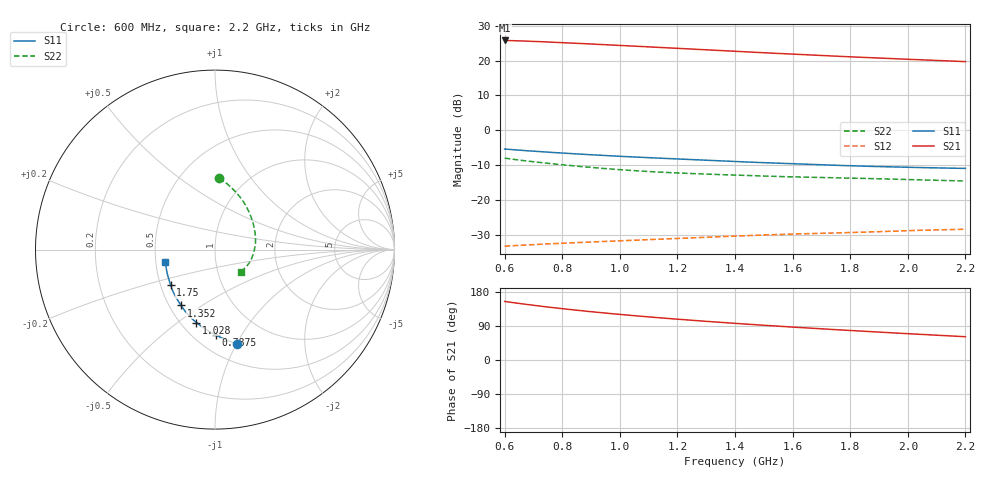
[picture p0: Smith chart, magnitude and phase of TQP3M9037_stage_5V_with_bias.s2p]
! Project 16: GNSS L1 + L2/L5 active antenna front end (RFMW-ANT)
! Generated by Scripts/simulate.py from Scripts/ds_data.py; format GHz / RI, Z0 = 50 ohm
! SIMULATED: 100 pF input DC block + TQP3M9037 (table) + 18 nH choke to 100 pF bypass + 100 pF
! output DC block, eval-board values (Qorvo p.5) with [ASSUMED] parasitics (models.BIAS).
# GHz S RI R 50.0
!freq ReS11 ImS11 ReS21 ImS21 ReS12 ImS12 ReS22 ImS22
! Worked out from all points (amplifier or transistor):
!   3201 points, 600 MHz to 2.2 GHz, reference 50 ohm
!   highest |S21| = 25.8 dB at 600 MHz (marker M1)
!   |S21| within 3 dB of that: start of sweep to 1.372 GHz
!   unconditionally stable (mu >= 1): start of sweep to end of sweep
!   at 866.5 MHz: K = 1.17, MAG = 26.0 dB, |S12| = -32.1 dB
!   at 1.4 GHz: K = 1.25, MAG = 23.5 dB, |S12| = -30.3 dB
!   at 2.2 GHz: K = 1.37, MAG = 20.4 dB, |S12| = -28.3 dB
!   S11 on the Smith chart (normalised r, x): 600 MHz: 0.68, -1.01; 787.5 MHz: 0.64, -0.78; 1.028 GHz: 0.60, -0.59; 1.352 GHz: 0.57, -0.41; 1.75 GHz: 0.56, -0.25; 2.2 GHz: 0.56, -0.09
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0.6  0.1246 -0.5252  -17.56 8.353  0.0174 0.0133  0.024 0.3988
0.612  0.1152 -0.5223  -17.32 8.728  0.0176 0.0133  0.034 0.392
0.6525  0.0858 -0.5122  -16.44 9.872  0.0182 0.0132  0.0645 0.3688
0.693  0.0592 -0.5018  -15.5 10.84  0.0187 0.0132  0.0906 0.3459
0.739  0.0317 -0.4895  -14.38 11.75  0.0193 0.0133  0.1159 0.3204
0.7875  0.00488 -0.4763  -13.2 12.52  0.0199 0.0133  0.1383 0.2941
0.8265  -0.0154 -0.4654  -12.26 13.03  0.0204 0.0134  0.1535 0.2734
0.867  -0.0355 -0.4538  -11.3 13.46  0.0209 0.0134  0.1671 0.2523
0.945  -0.0709 -0.4308  -9.521 14.03  0.0217 0.0134  0.1877 0.2133
1.0275  -0.1033 -0.4065  -7.761 14.34  0.0227 0.0134  0.2033 0.1749
1.0785  -0.1207 -0.3917  -6.742 14.4  0.0233 0.0134  0.2104 0.1528
1.1335  -0.1376 -0.3759  -5.708 14.38  0.024 0.0134  0.2164 0.1303
1.241  -0.1656 -0.3443  -3.874 14.15  0.0252 0.0135  0.2238 0.0899
1.352  -0.1894 -0.3109  -2.226 13.72  0.0265 0.0139  0.2261 0.0524
1.4  -0.1986 -0.2967  -1.584 13.49  0.0271 0.0141  0.2255 0.0371
1.531  -0.2215 -0.2588  -0.0283 12.78  0.0287 0.0141  0.2194 -0.00152
1.667  -0.2395 -0.2198  1.309 11.94  0.0301 0.0138  0.2096 -0.0349
1.7495  -0.2476 -0.1962  1.999 11.41  0.0309 0.0136  0.2027 -0.0522
1.8405  -0.2558 -0.1702  2.674 10.82  0.0319 0.0134  0.1929 -0.0702
1.9335  -0.2635 -0.1437  3.283 10.22  0.0332 0.0133  0.1806 -0.0874
2.0635  -0.2712 -0.1074  4.005 9.376  0.0347 0.0131  0.1625 -0.1068
2.2  -0.2762 -0.0706  4.626 8.497  0.036 0.0128  0.1425 -0.1223
